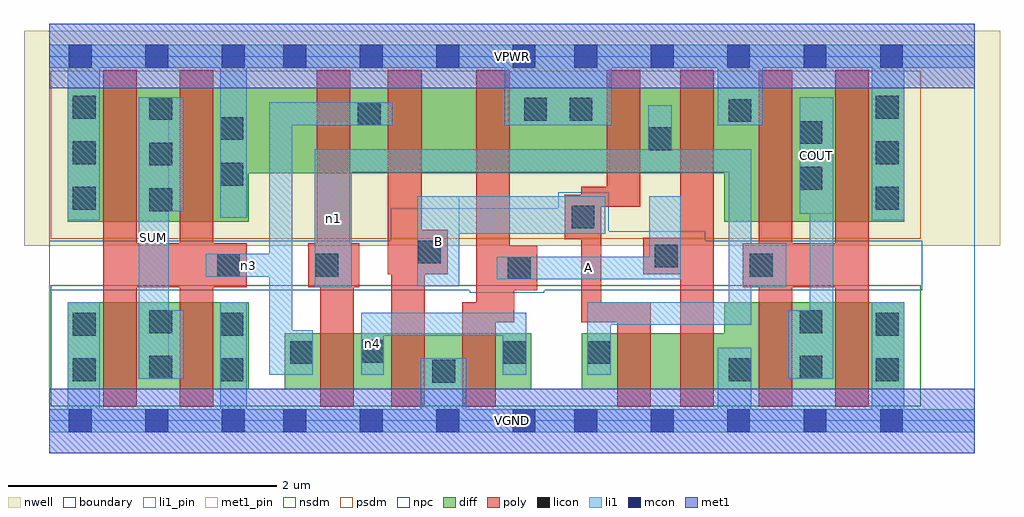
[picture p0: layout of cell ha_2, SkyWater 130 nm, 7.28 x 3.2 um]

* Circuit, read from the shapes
.subckt ha_2 A B COUT SUM VGND VPWR n1 n3 n4
XM1 SUM n3 VGND VSUBS sky130_fd_pr__nfet_01v8 w=0.65 l=0.25 m=2
XM2 n4 n1 n3 VSUBS sky130_fd_pr__nfet_01v8 w=0.42 l=0.25
XM3 VGND B n4 VSUBS sky130_fd_pr__nfet_01v8 w=0.42 l=0.25
XM4 n4 A VGND VSUBS sky130_fd_pr__nfet_01v8 w=0.42 l=0.25
XM5 n2 B n1 VSUBS sky130_fd_pr__nfet_01v8 w=0.42 l=0.25
XM6 VGND A n2 VSUBS sky130_fd_pr__nfet_01v8 w=0.42 l=0.25
XM7 COUT n1 VGND VSUBS sky130_fd_pr__nfet_01v8 w=0.65 l=0.25 m=2
XM8 SUM n3 VPWR n5 sky130_fd_pr__pfet_01v8 w=1 l=0.25 m=2
XM9 n3 n1 VPWR n5 sky130_fd_pr__pfet_01v8 w=0.64 l=0.25
XM10 n6 B n3 n5 sky130_fd_pr__pfet_01v8 w=0.64 l=0.25
XM11 VPWR A n6 n5 sky130_fd_pr__pfet_01v8 w=0.64 l=0.25
XM12 n1 B VPWR n5 sky130_fd_pr__pfet_01v8 w=0.64 l=0.25
XM13 VPWR A n1 n5 sky130_fd_pr__pfet_01v8 w=0.64 l=0.25
XM14 COUT n1 VPWR n5 sky130_fd_pr__pfet_01v8 w=1 l=0.25 m=2
.ends

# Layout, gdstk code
import gdstk
lib = gdstk.Library(unit=1e-6, precision=1e-09)
def R(c, l, rs):  # rectangles x0, y0, x1, y1
    for r in rs: c.add(gdstk.rectangle(r[:2], r[2:], *l))
def A(c, l, x, y, w, h, nx, ny, dx, dy):  # array of equal rectangles
    R(c, l, [(x+i*dx, y+j*dy, x+i*dx+w, y+j*dy+h) for i in range(nx) for j in range(ny)])
nwell = (64, 20)
diff = (65, 20)
poly = (66, 20)
licon = (66, 44)
li1_pin = (67, 16)
li1 = (67, 20)
mcon = (67, 44)
met1_pin = (68, 16)
met1 = (68, 20)
nsdm = (93, 44)
psdm = (94, 20)
npc = (95, 20)
boundary = (235, 4)

ha_2 = lib.new_cell('ha_2')
R(ha_2, nwell, [(-0.19,1.305,7.09,2.91), (0,1.305,6.9,2.91)])
R(ha_2, diff, [(0.135,0.235,1.485,0.885), (1.755,0.235,3.595,0.655), (3.97,0.235,6.375,0.655), (5.035,0.235,6.375,0.885), (0.135,1.485,1.485,2.485), (5.035,1.485,6.375,2.485), (0.135,1.845,6.375,2.485)])
R(ha_2, poly, [(0.4,0.105,0.65,2.615), (0.97,0.105,1.22,2.615), (2.02,0.105,2.27,1.325), (2.55,0.105,2.8,1.425), (3.08,0.105,3.33,0.885), (4.235,0.105,4.485,0.885), (4.705,0.105,4.955,2.615), (5.29,0.105,5.54,2.615), (5.86,0.105,6.11,2.615), (3.185,0.735,3.435,2.615), (3.185,0.735,3.465,1.305), (3.965,0.735,4.115,1.745), (3.965,0.735,4.485,0.885), (3.185,0.975,3.64,1.305), (0.4,0.995,1.47,1.325), (1.93,0.995,2.31,1.325), (1.995,0.995,2.245,2.615), (5.17,0.995,6.11,1.325), (2.525,1.095,2.775,2.615), (2.525,1.095,2.97,1.425), (4.43,1.095,4.955,1.365), (3.845,1.355,4.115,1.685), (3.965,1.595,4.405,1.745), (4.155,1.595,4.405,2.615)])
A(ha_2, licon, 0.745, 1.565, 0.17, 0.17, 1, 3, 0, 0.34)
A(ha_2, licon, 0.175, 1.575, 0.17, 0.17, 1, 3, 0, 0.34)
A(ha_2, licon, 6.165, 1.575, 0.17, 0.17, 1, 3, 0, 0.34)
R(ha_2, licon, [(2.855,0.285,3.025,0.455), (0.175,0.295,0.345,0.465), (1.275,0.295,1.445,0.465), (5.065,0.295,5.235,0.465), (6.165,0.295,6.335,0.465), (0.745,0.315,0.915,0.485), (5.595,0.315,5.765,0.485), (1.795,0.425,1.965,0.595), (3.385,0.425,3.555,0.595), (4.01,0.425,4.18,0.595), (2.325,0.435,2.495,0.605), (0.175,0.635,0.345,0.805), (1.275,0.635,1.445,0.805), (6.165,0.635,6.335,0.805), (0.745,0.655,0.915,0.825), (5.595,0.655,5.765,0.825), (3.42,1.055,3.59,1.225), (1.25,1.075,1.42,1.245), (1.985,1.075,2.155,1.245), (5.225,1.075,5.395,1.245), (4.515,1.145,4.685,1.315), (2.75,1.175,2.92,1.345), (3.895,1.435,4.065,1.605), (5.595,1.725,5.765,1.895), (1.275,1.755,1.445,1.925), (4.47,2.02,4.64,2.19), (5.595,2.065,5.765,2.235), (1.275,2.095,1.445,2.265), (2.3,2.205,2.47,2.375), (5.065,2.23,5.235,2.4), (3.54,2.24,3.71,2.41), (3.88,2.24,4.05,2.41)])
R(ha_2, li1_pin, [(0.665,0.315,0.89,2.415), (2.745,1.005,3.055,1.675), (3.335,1.055,4.71,1.225), (5.595,1.545,5.845,2.415)])
R(ha_2, li1, [(0,-0.085,6.9,0.085), (0.135,-0.085,0.375,0.885), (1.275,-0.085,1.47,0.885), (2.77,-0.085,3.11,0.465), (4.985,-0.085,5.235,0.545), (6.135,-0.085,6.375,0.885), (0.665,0.315,0.89,2.415), (0.665,0.315,1,0.825), (5.51,0.315,5.845,0.825), (5.67,0.315,5.845,2.415), (1.64,0.345,1.81,2.375), (1.64,0.345,1.965,0.675), (2.325,0.345,2.495,0.805), (3.38,0.345,3.555,0.805), (4.01,0.345,4.185,0.885), (2.325,0.635,3.555,0.805), (4.01,0.715,5.235,0.885), (5.065,0.715,5.235,2.025), (1.98,0.995,2.255,2.025), (5.065,0.995,5.495,1.325), (2.745,1.005,3.055,1.675), (3.335,1.055,4.71,1.225), (4.475,1.055,4.71,1.675), (1.165,1.075,1.81,1.245), (2.745,1.395,4.145,1.675), (0.135,1.495,0.375,2.805), (6.135,1.495,6.375,2.805), (1.275,1.515,1.47,2.805), (5.595,1.545,5.845,2.415), (0.665,1.565,1,2.415), (1.98,1.855,5.235,2.025), (4.465,1.855,4.64,2.355), (1.64,2.205,2.555,2.375), (3.395,2.205,4.195,2.805), (4.985,2.205,5.32,2.805), (0,2.635,6.9,2.805)])
A(ha_2, mcon, 0.145, -0.085, 0.17, 0.17, 3, 2, 0.57, 2.72)
A(ha_2, mcon, 1.745, -0.085, 0.17, 0.17, 4, 2, 0.57, 2.72)
A(ha_2, mcon, 3.915, -0.085, 0.17, 0.17, 5, 2, 0.57, 2.72)
R(ha_2, met1_pin, [(0,-0.24,6.9,0.24), (0,2.48,6.9,2.96)])
R(ha_2, met1, [(0,-0.24,6.9,0.24), (0,2.48,6.9,2.96)])
R(ha_2, nsdm, [(0.01,0.11,6.5,1.01)])
R(ha_2, psdm, [(0.01,1.36,6.5,2.61)])
R(ha_2, npc, [(3.135,0.955,3.69,1.585), (0,0.975,6.51,1.345), (3.795,0.975,4.17,1.705), (3.795,0.975,4.89,1.415), (2.545,1.345,4.17,1.585)])
R(ha_2, boundary, [(0,0,6.9,2.72)])
ha_2.add(gdstk.Label('A', (4.022,1.14), layer=67, texttype=5))
ha_2.add(gdstk.Label('B', (2.9,1.34), layer=67, texttype=5))
ha_2.add(gdstk.Label('COUT', (5.72,1.98), layer=67, texttype=5))
ha_2.add(gdstk.Label('SUM', (0.777,1.365), layer=67, texttype=5))
ha_2.add(gdstk.Label('n4', (2.41,0.575), layer=67, texttype=5))
ha_2.add(gdstk.Label('n1', (2.117,1.51), layer=67, texttype=5))
ha_2.add(gdstk.Label('n3', (1.487,1.16), layer=67, texttype=5))
ha_2.add(gdstk.Label('VPWR', (3.45,2.72), layer=68, texttype=5))
ha_2.add(gdstk.Label('VGND', (3.45,0), layer=68, texttype=5))
ha_2.add(gdstk.Label('A', (4.022,1.14), layer=67, texttype=16))
ha_2.add(gdstk.Label('B', (2.9,1.34), layer=67, texttype=16))
ha_2.add(gdstk.Label('COUT', (5.72,1.98), layer=67, texttype=16))
ha_2.add(gdstk.Label('SUM', (0.777,1.365), layer=67, texttype=16))
ha_2.add(gdstk.Label('VPWR', (3.45,2.72), layer=68, texttype=16))
ha_2.add(gdstk.Label('VGND', (3.45,0), layer=68, texttype=16))

lib.write_gds('ha_2.gds')
